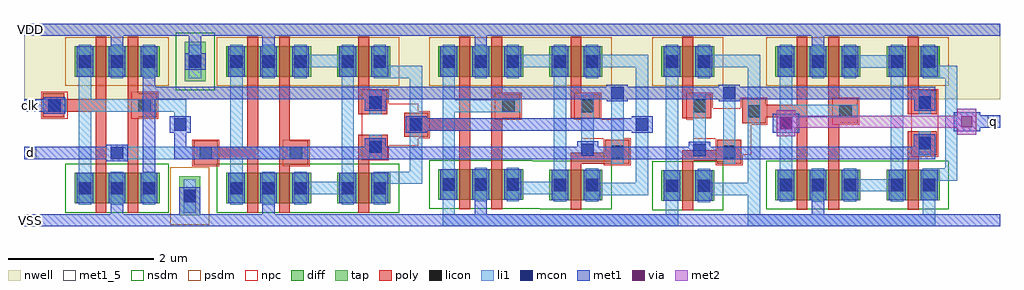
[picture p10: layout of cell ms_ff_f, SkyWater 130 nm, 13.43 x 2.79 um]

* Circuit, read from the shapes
.subckt ms_ff_f VDD VSS clk d q
XM1 VSS clk n1 VSS sky130_fd_pr__nfet_01v8 w=0.42 l=0.15
XM2 n2 n1 VSS VSS sky130_fd_pr__nfet_01v8 w=0.42 l=0.15
XM3 VSS d n3 VSS sky130_fd_pr__nfet_01v8 w=0.42 l=0.15
XM4 n4 n3 VSS VSS sky130_fd_pr__nfet_01v8 w=0.42 l=0.15
XM5 n5 n1 n4 VSS sky130_fd_pr__nfet_01v8 w=0.42 l=0.15
XM6 VSS n5 n6 VSS sky130_fd_pr__nfet_01v8 w=0.42 l=0.15
XM7 n7 n6 VSS VSS sky130_fd_pr__nfet_01v8 w=0.42 l=0.15
XM8 n5 n2 n7 VSS sky130_fd_pr__nfet_01v8 w=0.42 l=0.15
XM9 n8 n2 n6 VSS sky130_fd_pr__nfet_01v8 w=0.42 l=0.15
XM10 VSS n8 q VSS sky130_fd_pr__nfet_01v8 w=0.42 l=0.15
XM11 n9 q VSS VSS sky130_fd_pr__nfet_01v8 w=0.42 l=0.15
XM12 n8 n1 n9 VSS sky130_fd_pr__nfet_01v8 w=0.42 l=0.15
XM13 VDD clk n1 VDD sky130_fd_pr__pfet_01v8 w=0.42 l=0.15
XM14 n2 n1 VDD VDD sky130_fd_pr__pfet_01v8 w=0.42 l=0.15
XM15 VDD d n3 VDD sky130_fd_pr__pfet_01v8 w=0.42 l=0.15
XM16 n4 n3 VDD VDD sky130_fd_pr__pfet_01v8 w=0.42 l=0.15
XM17 n5 n2 n4 VDD sky130_fd_pr__pfet_01v8 w=0.42 l=0.15
XM18 VDD n5 n6 VDD sky130_fd_pr__pfet_01v8 w=0.42 l=0.15
XM19 n7 n6 VDD VDD sky130_fd_pr__pfet_01v8 w=0.42 l=0.15
XM20 n5 n1 n7 VDD sky130_fd_pr__pfet_01v8 w=0.42 l=0.15
XM21 n8 n1 n6 VDD sky130_fd_pr__pfet_01v8 w=0.42 l=0.15
XM22 VDD n8 q VDD sky130_fd_pr__pfet_01v8 w=0.42 l=0.15
XM23 n9 q VDD VDD sky130_fd_pr__pfet_01v8 w=0.42 l=0.15
XM24 n8 n2 n9 VDD sky130_fd_pr__pfet_01v8 w=0.42 l=0.15
.ends

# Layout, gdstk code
import gdstk
lib = gdstk.Library(unit=1e-6, precision=5e-09)
def R(c, l, rs):  # rectangles x0, y0, x1, y1
    for r in rs: c.add(gdstk.rectangle(r[:2], r[2:], *l))
def A(c, l, x, y, w, h, nx, ny, dx, dy):  # array of equal rectangles
    R(c, l, [(x+i*dx, y+j*dy, x+i*dx+w, y+j*dy+h) for i in range(nx) for j in range(ny)])
nwell = (64, 20)
diff = (65, 20)
tap = (65, 44)
poly = (66, 20)
licon = (66, 44)
li1 = (67, 20)
mcon = (67, 44)
met1_5 = (68, 5)
met1 = (68, 20)
via = (68, 44)
met2 = (69, 20)
nsdm = (93, 44)
psdm = (94, 20)
npc = (95, 20)

ms_ff_f = lib.new_cell('ms_ff_f')
R(ms_ff_f, nwell, [(0,1.75,13.43,2.79)])
R(ms_ff_f, diff, [(0.695,0.315,1.865,0.735), (2.78,0.315,3.95,0.735), (4.31,0.315,5.04,0.735), (8.77,0.35,9.5,0.77), (7.23,0.36,7.96,0.78), (10.34,0.36,11.51,0.78), (11.87,0.36,12.6,0.78), (5.7,0.365,6.87,0.785), (0.695,2.06,1.865,2.48), (2.78,2.06,3.95,2.48), (4.31,2.06,5.04,2.48), (5.7,2.06,6.87,2.48), (7.23,2.06,7.96,2.48), (8.77,2.06,9.5,2.48), (10.34,2.06,11.51,2.48), (11.87,2.06,12.6,2.48)])
R(ms_ff_f, tap, [(2.135,0.15,2.425,0.69), (2.21,2,2.5,2.54)])
R(ms_ff_f, poly, [(0.985,0.185,1.135,1.58), (1.425,0.185,1.575,1.5), (3.07,0.185,3.22,0.925), (3.51,0.185,3.66,0.845), (4.6,0.185,4.75,0.925), (9.06,0.22,9.21,0.9), (7.52,0.23,7.67,0.86), (10.63,0.23,10.78,1.5), (11.07,0.23,11.22,1.42), (12.16,0.23,12.31,0.98), (5.99,0.235,6.14,1.315), (6.43,0.235,6.58,1.49), (2.335,0.845,2.665,0.925), (3.51,0.845,3.91,1.175), (7.52,0.86,8.33,1.01), (9.54,0.86,9.87,0.9), (9.06,0.9,9.87,1.05), (2.335,0.925,3.22,1.095), (4.6,0.925,5.005,1.26), (12.16,0.98,12.56,1.31), (8,1.01,8.33,1.19), (9.54,1.05,9.87,1.19), (2.335,1.095,2.665,1.175), (3.07,1.095,3.22,2.61), (3.51,1.175,3.66,2.61), (5.23,1.235,5.56,1.315), (5.23,1.315,6.14,1.485), (9.88,1.42,10.21,1.5), (11.07,1.42,11.47,1.755), (5.23,1.485,5.56,1.565), (5.99,1.485,6.14,2.61), (6.43,1.49,6.83,1.82), (7.52,1.49,7.92,1.82), (9.06,1.49,9.46,1.82), (0.255,1.5,0.555,1.58), (1.425,1.5,1.825,1.83), (9.88,1.5,10.78,1.675), (4.6,1.54,5,1.87), (12.16,1.54,12.56,1.87), (0.255,1.58,1.135,1.75), (9.88,1.675,10.21,1.755), (10.63,1.675,10.78,2.61), (0.255,1.75,0.555,1.83), (0.985,1.75,1.135,2.61), (11.07,1.755,11.22,2.61), (6.43,1.82,6.58,2.61), (7.52,1.82,7.67,2.61), (9.06,1.82,9.21,2.61), (1.425,1.83,1.575,2.61), (4.6,1.87,4.75,2.61), (12.16,1.87,12.31,2.61)])
A(ms_ff_f, licon, 0.755, 0.44, 0.17, 0.17, 3, 2, 0.44, 1.745)
A(ms_ff_f, licon, 2.84, 0.44, 0.17, 0.17, 3, 2, 0.44, 1.745)
A(ms_ff_f, licon, 10.4, 0.485, 0.17, 0.17, 3, 2, 0.44, 1.7)
A(ms_ff_f, licon, 5.76, 0.49, 0.17, 0.17, 3, 2, 0.44, 1.695)
R(ms_ff_f, licon, [(2.195,0.335,2.365,0.505), (4.37,0.44,4.54,0.61), (4.81,0.44,4.98,0.61), (8.83,0.475,9,0.645), (9.27,0.475,9.44,0.645), (7.29,0.485,7.46,0.655), (7.73,0.485,7.9,0.655), (11.93,0.485,12.1,0.655), (12.37,0.485,12.54,0.655), (2.415,0.925,2.585,1.095), (3.66,0.925,3.83,1.095), (8.08,0.94,8.25,1.11), (9.62,0.94,9.79,1.11), (4.75,1.01,4.92,1.18), (12.31,1.06,12.48,1.23), (5.31,1.315,5.48,1.485), (9.96,1.5,10.13,1.67), (11.22,1.5,11.39,1.67), (6.58,1.57,6.75,1.74), (7.67,1.57,7.84,1.74), (9.21,1.57,9.38,1.74), (0.335,1.58,0.505,1.75), (1.575,1.58,1.745,1.75), (4.75,1.62,4.92,1.79), (12.31,1.62,12.48,1.79), (2.27,2.185,2.44,2.355), (4.37,2.185,4.54,2.355), (4.81,2.185,4.98,2.355), (7.29,2.185,7.46,2.355), (7.73,2.185,7.9,2.355), (8.83,2.185,9,2.355), (9.27,2.185,9.44,2.355), (11.93,2.185,12.1,2.355), (12.37,2.185,12.54,2.355)])
R(ms_ff_f, li1, [(5.76,0,9,0.17), (9.96,0,12.54,0.17), (5.76,0.17,5.93,1.57), (8.83,0.17,9,2.5), (9.96,0.17,10.13,0.43), (12.37,0.17,12.54,0.625), (2.195,0.19,2.365,0.65), (0.755,0.295,0.925,1.58), (1.195,0.295,1.365,0.755), (1.635,0.295,1.805,0.755), (2.84,0.295,3.01,0.925), (3.28,0.295,3.45,0.755), (3.72,0.295,3.89,0.445), (4.37,0.295,4.54,0.445), (4.81,0.295,4.98,0.585), (9.27,0.33,9.44,0.43), (7.29,0.34,7.46,0.445), (7.73,0.34,7.9,0.43), (10.4,0.34,10.57,1.5), (10.84,0.34,11.01,0.8), (11.28,0.34,11.45,0.48), (11.93,0.34,12.1,0.48), (6.2,0.345,6.37,0.805), (6.64,0.345,6.81,0.445), (7.73,0.43,8.59,0.6), (9.27,0.43,10.13,0.6), (3.72,0.445,4.54,0.615), (6.64,0.445,7.46,0.615), (11.28,0.48,12.1,0.65), (4.81,0.585,5.48,0.755), (7.73,0.6,7.9,0.8), (8.42,0.6,8.59,2.19), (9.27,0.6,9.44,0.79), (9.96,0.6,10.13,2.19), (3.72,0.615,3.89,0.755), (4.37,0.615,4.54,2.19), (6.64,0.615,6.81,0.805), (7.29,0.615,7.46,2.19), (12.37,0.625,12.845,0.8), (11.28,0.65,11.45,0.8), (11.93,0.65,12.1,2.185), (5.31,0.755,5.48,2.04), (12.675,0.8,12.845,2.04), (8.08,0.86,8.25,1.92), (9.62,0.86,9.79,1.92), (1.195,0.925,2.665,1.095), (2.84,0.925,3.91,1.095), (4.75,0.925,4.92,1.26), (9.21,0.965,9.38,1.82), (7.67,0.97,7.84,1.82), (12.31,0.98,12.48,1.31), (2.84,1.095,3.01,2.5), (2.065,1.315,2.235,1.58), (10.4,1.5,11.47,1.675), (4.75,1.54,4.92,1.87), (12.31,1.54,12.48,1.87), (5.76,1.57,6.83,1.74), (0.255,1.58,0.585,1.75), (0.755,1.58,2.235,1.75), (10.4,1.675,10.57,2.5), (5.76,1.74,5.93,2.5), (0.755,1.75,0.925,2.5), (1.195,2.04,1.365,2.5), (1.635,2.04,1.805,2.5), (2.27,2.04,2.44,2.5), (3.28,2.04,3.45,2.5), (3.72,2.04,3.89,2.19), (4.81,2.04,5.48,2.21), (6.2,2.04,6.37,2.5), (6.64,2.04,6.81,2.19), (7.73,2.04,7.9,2.19), (9.27,2.04,9.44,2.19), (10.84,2.04,11.01,2.5), (11.28,2.04,11.45,2.185), (12.37,2.04,12.845,2.21), (11.28,2.185,12.1,2.355), (3.72,2.19,4.54,2.36), (6.64,2.19,7.46,2.36), (7.73,2.19,8.59,2.36), (9.27,2.19,10.13,2.36), (4.81,2.21,4.98,2.5), (12.37,2.21,12.54,2.5), (11.28,2.355,11.45,2.5), (11.93,2.355,12.1,2.5), (3.72,2.36,3.89,2.5), (4.37,2.36,4.54,2.5), (6.64,2.36,6.81,2.5), (7.29,2.36,7.46,2.5), (7.73,2.36,7.9,2.5), (9.27,2.36,9.44,2.5)])
A(ms_ff_f, mcon, 0.755, 0.44, 0.17, 0.17, 3, 2, 0.44, 1.745)
A(ms_ff_f, mcon, 2.84, 0.44, 0.17, 0.17, 3, 2, 0.44, 1.745)
A(ms_ff_f, mcon, 10.4, 0.485, 0.17, 0.17, 3, 2, 0.44, 1.7)
A(ms_ff_f, mcon, 5.76, 0.49, 0.17, 0.17, 3, 2, 0.44, 1.695)
R(ms_ff_f, mcon, [(2.195,0.335,2.365,0.505), (4.37,0.44,4.54,0.61), (4.81,0.44,4.98,0.61), (8.83,0.475,9,0.645), (9.27,0.475,9.44,0.645), (7.29,0.485,7.46,0.655), (7.73,0.485,7.9,0.655), (11.93,0.485,12.1,0.655), (12.37,0.485,12.54,0.655), (1.195,0.925,1.365,1.095), (9.21,0.965,9.38,1.135), (7.67,0.97,7.84,1.14), (4.75,1.01,4.92,1.18), (12.31,1.06,12.48,1.23), (2.065,1.315,2.235,1.485), (5.31,1.315,5.48,1.485), (8.42,1.315,8.59,1.485), (10.4,1.335,10.57,1.505), (0.335,1.58,0.505,1.75), (4.75,1.62,4.92,1.79), (12.31,1.62,12.48,1.79), (8.08,1.75,8.25,1.92), (9.62,1.75,9.79,1.92), (2.27,2.185,2.44,2.355), (4.37,2.185,4.54,2.355), (4.81,2.185,4.98,2.355), (7.29,2.185,7.46,2.355), (7.73,2.185,7.9,2.355), (8.83,2.185,9,2.355), (9.27,2.185,9.44,2.355), (11.93,2.185,12.1,2.355), (12.37,2.185,12.54,2.355)])
R(ms_ff_f, met1_5, [(0,0,0.17,0.17), (0,0.925,0.17,1.095), (13.26,1.36,13.43,1.53), (0,1.58,0.17,1.75), (0,2.62,0.17,2.79)])
A(ms_ff_f, met1, 0.725, 0.315, 0.23, 0.42, 3, 2, 0.44, 1.745)
A(ms_ff_f, met1, 2.81, 0.315, 0.23, 0.42, 3, 2, 0.44, 1.745)
A(ms_ff_f, met1, 10.37, 0.36, 0.23, 0.42, 3, 2, 0.44, 1.7)
A(ms_ff_f, met1, 5.73, 0.365, 0.23, 0.42, 3, 2, 0.44, 1.695)
R(ms_ff_f, met1, [(0,0,13.43,0.165), (0,0.165,6.37,0.17), (9.605,0.165,11.82,0.17), (1.195,0.17,1.365,0.315), (2.135,0.17,2.425,0.535), (3.28,0.17,3.45,0.315), (6.2,0.17,6.37,0.365), (10.84,0.17,11.01,0.36), (4.34,0.315,4.57,0.735), (4.78,0.315,5.01,0.735), (8.8,0.35,9.03,0.77), (9.24,0.35,9.47,0.77), (7.26,0.36,7.49,0.78), (7.7,0.36,7.93,0.78), (11.9,0.36,12.13,0.78), (12.34,0.36,12.57,0.78), (1.635,0.735,1.805,1.75), (1.135,0.895,1.425,0.925), (0,0.925,1.425,1.095), (2.065,0.925,12.54,1.095), (1.135,1.095,1.425,1.125), (2.065,1.095,2.235,1.285), (4.69,1.095,4.98,1.21), (7.61,1.095,7.9,1.17), (9.15,1.095,9.44,1.165), (12.245,1.095,12.54,1.27), (2.005,1.285,2.295,1.515), (5.25,1.285,5.54,1.315), (8.36,1.285,8.65,1.315), (10.305,1.29,10.665,1.55), (12.795,1.31,13.155,1.36), (5.25,1.315,8.65,1.485), (12.795,1.36,13.43,1.53), (5.25,1.485,5.54,1.515), (8.36,1.485,8.65,1.515), (12.795,1.53,13.155,1.57), (0.275,1.55,0.565,1.58), (0,1.58,0.565,1.75), (4.69,1.59,4.98,1.75), (12.25,1.59,12.54,1.75), (8.02,1.72,8.31,1.75), (9.56,1.72,9.85,1.75), (0.275,1.75,0.565,1.78), (1.635,1.75,12.54,1.92), (1.635,1.92,1.805,2.06), (8.02,1.92,8.31,1.95), (9.56,1.92,9.85,1.95), (4.34,2.06,4.57,2.48), (4.78,2.06,5.01,2.48), (7.26,2.06,7.49,2.48), (7.7,2.06,7.93,2.48), (8.8,2.06,9.03,2.48), (9.24,2.06,9.47,2.48), (11.9,2.06,12.13,2.48), (12.34,2.06,12.57,2.48), (2.21,2.155,2.5,2.385), (2.27,2.385,2.44,2.62), (1.195,2.48,1.365,2.62), (3.28,2.48,3.45,2.62), (6.2,2.48,6.37,2.62), (10.84,2.48,11.01,2.62), (0,2.62,13.43,2.79)])
R(ms_ff_f, via, [(10.41,1.345,10.56,1.495), (12.9,1.365,13.05,1.515)])
R(ms_ff_f, met2, [(10.355,1.24,10.615,1.355), (12.845,1.26,13.105,1.355), (10.355,1.355,13.105,1.525), (10.355,1.525,10.615,1.6), (12.845,1.525,13.105,1.62)])
R(ms_ff_f, nsdm, [(0.57,0.19,1.99,0.86), (2.655,0.19,5.165,0.86), (8.645,0.225,9.625,0.895), (7.105,0.235,8.085,0.24), (10.215,0.235,12.725,0.905), (5.575,0.24,8.085,0.905), (5.575,0.905,6.995,0.91), (2.085,1.875,2.625,2.665)])
R(ms_ff_f, psdm, [(2.01,0.025,2.55,0.815), (0.57,1.935,1.99,2.605), (2.655,1.935,5.165,2.605), (5.575,1.935,8.085,2.605), (8.645,1.935,9.625,2.605), (10.215,1.935,12.725,2.605)])
R(ms_ff_f, npc, [(2.315,0.825,2.685,1.195), (3.56,0.825,3.93,1.195), (7.98,0.84,8.35,1.205), (9.52,0.84,9.89,0.985), (4.65,0.91,5.02,1.11), (12.21,0.96,12.58,1.89), (9.52,0.985,10.01,1.205), (4.65,1.11,5.425,1.215), (7.67,1.205,8.35,1.21), (9.21,1.205,10.01,1.4), (7.67,1.21,8.25,1.47), (4.65,1.215,5.58,1.585), (9.21,1.4,10.23,1.47), (11.12,1.4,11.49,1.77), (6.48,1.47,6.85,1.84), (7.57,1.47,8.25,1.475), (9.11,1.47,10.23,1.625), (7.57,1.475,7.94,1.84), (0.235,1.48,0.605,1.85), (1.475,1.48,1.845,1.85), (4.65,1.585,5.425,1.69), (9.11,1.625,9.48,1.84), (9.86,1.625,10.23,1.77), (4.65,1.69,5.02,1.89)])
ms_ff_f.add(gdstk.Label('clk', (0.085,1.665), layer=68, texttype=5))
ms_ff_f.add(gdstk.Label('d', (0.085,1.01), layer=68, texttype=5))
ms_ff_f.add(gdstk.Label('VDD', (0.085,2.705), layer=68, texttype=5))
ms_ff_f.add(gdstk.Label('VSS', (0.085,0.085), layer=68, texttype=5))
ms_ff_f.add(gdstk.Label('q', (13.345,1.445), layer=68, texttype=5))

lib.write_gds('ms_ff_f.gds')
